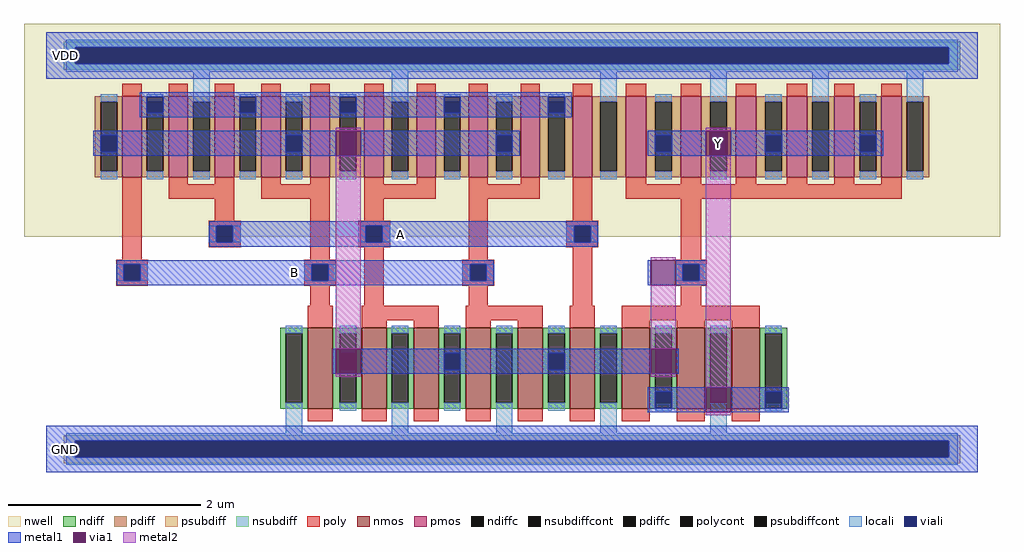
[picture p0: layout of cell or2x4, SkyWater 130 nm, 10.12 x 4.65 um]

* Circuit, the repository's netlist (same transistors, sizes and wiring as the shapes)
** sch_path: /foss/designs/or2x4.sch
.subckt or2x4 A B VDD GND Y
*.PININFO A:I B:I VDD:B GND:B Y:O
XM1 net1 A GND GND sky130_fd_pr__nfet_01v8 L=0.26 W=2.52 nf=3
XM3 net2 A VDD VDD sky130_fd_pr__pfet_01v8 L=0.2 W=4.2 nf=5
XM5 Y net1 VDD VDD sky130_fd_pr__pfet_01v8 L=0.21 W=5.04 nf=6
XM4 net1 B net2 VDD sky130_fd_pr__pfet_01v8 L=0.2 W=4.2 nf=5
XM2 net1 B GND GND sky130_fd_pr__nfet_01v8 L=0.26 W=2.52 nf=3
XM6 Y net1 GND GND sky130_fd_pr__nfet_01v8 L=0.29 W=2.52 nf=3
.ends

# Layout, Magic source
magic
tech sky130A
magscale 1 2
<< nwell >>
rect -46 440 1978 882
<< nmos >>
rect 542 84 594 252
rect 654 84 706 252
rect 762 84 814 252
rect 870 84 922 252
rect 978 84 1030 252
rect 1086 84 1138 252
rect 1194 84 1252 252
rect 1308 84 1366 252
rect 1422 84 1480 252
<< pmos >>
rect 158 564 198 732
rect 254 564 294 732
rect 350 564 390 732
rect 446 564 486 732
rect 548 564 588 732
rect 660 564 700 732
rect 768 564 808 732
rect 876 564 916 732
rect 984 564 1024 732
rect 1092 564 1132 732
rect 1202 564 1244 732
rect 1316 564 1358 732
rect 1430 564 1472 732
rect 1536 564 1578 732
rect 1634 564 1676 732
rect 1732 564 1774 732
<< ndiff >>
rect 485 240 542 252
rect 485 96 497 240
rect 531 96 542 240
rect 485 84 542 96
rect 594 240 654 252
rect 594 96 609 240
rect 643 96 654 240
rect 594 84 654 96
rect 706 240 762 252
rect 706 96 717 240
rect 751 96 762 240
rect 706 84 762 96
rect 814 240 870 252
rect 814 96 825 240
rect 859 96 870 240
rect 814 84 870 96
rect 922 240 978 252
rect 922 96 933 240
rect 967 96 978 240
rect 922 84 978 96
rect 1030 240 1086 252
rect 1030 96 1041 240
rect 1075 96 1086 240
rect 1030 84 1086 96
rect 1138 240 1194 252
rect 1138 96 1149 240
rect 1183 96 1194 240
rect 1138 84 1194 96
rect 1252 240 1308 252
rect 1252 96 1263 240
rect 1297 96 1308 240
rect 1252 84 1308 96
rect 1366 240 1422 252
rect 1366 96 1377 240
rect 1411 96 1422 240
rect 1366 84 1422 96
rect 1480 240 1537 252
rect 1480 96 1491 240
rect 1525 96 1537 240
rect 1480 84 1537 96
<< pdiff >>
rect 101 720 158 732
rect 101 576 113 720
rect 147 576 158 720
rect 101 564 158 576
rect 198 720 254 732
rect 198 576 209 720
rect 243 576 254 720
rect 198 564 254 576
rect 294 720 350 732
rect 294 576 305 720
rect 339 576 350 720
rect 294 564 350 576
rect 390 720 446 732
rect 390 576 401 720
rect 435 576 446 720
rect 390 564 446 576
rect 486 720 548 732
rect 486 576 497 720
rect 531 576 548 720
rect 486 564 548 576
rect 588 720 660 732
rect 588 576 609 720
rect 643 576 660 720
rect 588 564 660 576
rect 700 720 768 732
rect 700 576 717 720
rect 751 576 768 720
rect 700 564 768 576
rect 808 720 876 732
rect 808 576 825 720
rect 859 576 876 720
rect 808 564 876 576
rect 916 720 984 732
rect 916 576 933 720
rect 967 576 984 720
rect 916 564 984 576
rect 1024 720 1092 732
rect 1024 576 1041 720
rect 1075 576 1092 720
rect 1024 564 1092 576
rect 1132 720 1202 732
rect 1132 576 1149 720
rect 1183 576 1202 720
rect 1132 564 1202 576
rect 1244 720 1316 732
rect 1244 576 1263 720
rect 1297 576 1316 720
rect 1244 564 1316 576
rect 1358 720 1430 732
rect 1358 576 1377 720
rect 1411 576 1430 720
rect 1358 564 1430 576
rect 1472 720 1536 732
rect 1472 576 1491 720
rect 1525 576 1536 720
rect 1472 564 1536 576
rect 1578 720 1634 732
rect 1578 576 1589 720
rect 1623 576 1634 720
rect 1578 564 1634 576
rect 1676 720 1732 732
rect 1676 576 1687 720
rect 1721 576 1732 720
rect 1676 564 1732 576
rect 1774 720 1831 732
rect 1774 576 1785 720
rect 1819 576 1831 720
rect 1774 564 1831 576
<< ndiffc >>
rect 497 96 531 240
rect 609 96 643 240
rect 717 96 751 240
rect 825 96 859 240
rect 933 96 967 240
rect 1041 96 1075 240
rect 1149 96 1183 240
rect 1263 96 1297 240
rect 1377 96 1411 240
rect 1491 96 1525 240
<< pdiffc >>
rect 113 576 147 720
rect 209 576 243 720
rect 305 576 339 720
rect 401 576 435 720
rect 497 576 531 720
rect 609 576 643 720
rect 717 576 751 720
rect 825 576 859 720
rect 933 576 967 720
rect 1041 576 1075 720
rect 1149 576 1183 720
rect 1263 576 1297 720
rect 1377 576 1411 720
rect 1491 576 1525 720
rect 1589 576 1623 720
rect 1687 576 1721 720
rect 1785 576 1819 720
<< psubdiff >>
rect 36 17 1896 29
rect 36 -17 60 17
rect 1872 -17 1896 17
rect 36 -29 1896 -17
<< nsubdiff >>
rect 36 833 1896 845
rect 36 799 60 833
rect 1872 799 1896 833
rect 36 787 1896 799
<< psubdiffcont >>
rect 60 -17 1872 17
<< nsubdiffcont >>
rect 60 799 1872 833
<< poly >>
rect 158 732 198 758
rect 254 732 294 758
rect 350 732 390 758
rect 446 732 486 758
rect 548 732 588 758
rect 660 732 700 758
rect 768 732 808 758
rect 876 732 916 758
rect 984 732 1024 758
rect 1092 732 1132 758
rect 1202 732 1244 758
rect 1316 732 1358 758
rect 1430 732 1472 758
rect 1536 732 1578 758
rect 1634 732 1676 758
rect 1732 732 1774 758
rect 158 393 198 564
rect 254 549 294 564
rect 350 549 390 564
rect 254 519 390 549
rect 446 549 486 564
rect 548 549 588 564
rect 446 519 588 549
rect 350 473 390 519
rect 337 463 403 473
rect 337 429 353 463
rect 387 429 403 463
rect 337 419 403 429
rect 548 393 588 519
rect 660 549 700 564
rect 768 549 808 564
rect 660 519 808 549
rect 876 549 916 564
rect 984 549 1024 564
rect 876 519 1024 549
rect 660 473 700 519
rect 647 463 713 473
rect 647 429 663 463
rect 697 429 713 463
rect 647 419 713 429
rect 145 383 211 393
rect 145 349 161 383
rect 195 349 211 383
rect 145 339 211 349
rect 535 383 601 393
rect 535 349 551 383
rect 585 349 601 383
rect 535 339 601 349
rect 548 297 588 339
rect 660 297 700 419
rect 876 393 916 519
rect 1092 473 1132 564
rect 1202 549 1244 564
rect 1316 549 1358 564
rect 1430 549 1472 564
rect 1536 549 1578 564
rect 1634 549 1676 564
rect 1732 549 1774 564
rect 1202 519 1774 549
rect 1079 463 1145 473
rect 1079 429 1095 463
rect 1129 429 1145 463
rect 1079 419 1145 429
rect 863 383 929 393
rect 863 349 879 383
rect 913 349 929 383
rect 863 339 929 349
rect 876 297 916 339
rect 1092 297 1132 419
rect 1316 393 1358 519
rect 1304 383 1370 393
rect 1304 349 1320 383
rect 1354 349 1370 383
rect 1304 339 1370 349
rect 1316 297 1358 339
rect 542 252 594 297
rect 654 267 814 297
rect 654 252 706 267
rect 762 252 814 267
rect 870 267 1030 297
rect 870 252 922 267
rect 978 252 1030 267
rect 1086 252 1138 297
rect 1194 267 1480 297
rect 1194 252 1252 267
rect 1308 252 1366 267
rect 1422 252 1480 267
rect 542 58 594 84
rect 654 58 706 84
rect 762 58 814 84
rect 870 58 922 84
rect 978 58 1030 84
rect 1086 58 1138 84
rect 1194 58 1252 84
rect 1308 58 1366 84
rect 1422 58 1480 84
<< polycont >>
rect 353 429 387 463
rect 663 429 697 463
rect 161 349 195 383
rect 551 349 585 383
rect 1095 429 1129 463
rect 879 349 913 383
rect 1320 349 1354 383
<< locali >>
rect 42 833 1890 849
rect 42 799 60 833
rect 1872 799 1890 833
rect 42 783 1890 799
rect 113 720 147 736
rect 113 560 147 576
rect 209 731 243 736
rect 209 560 243 576
rect 305 720 339 783
rect 305 560 339 576
rect 401 731 435 736
rect 401 560 435 576
rect 497 720 531 736
rect 497 560 531 576
rect 609 731 643 736
rect 609 560 643 576
rect 717 720 751 783
rect 717 560 751 576
rect 825 731 859 736
rect 825 560 859 576
rect 933 720 967 736
rect 933 560 967 576
rect 1041 731 1075 736
rect 1041 560 1075 576
rect 1149 720 1183 783
rect 1149 560 1183 576
rect 1263 720 1297 736
rect 1263 560 1297 576
rect 1377 720 1411 783
rect 1377 560 1411 576
rect 1491 720 1525 736
rect 1491 560 1525 576
rect 1589 720 1623 783
rect 1589 560 1623 576
rect 1687 720 1721 736
rect 1687 560 1721 576
rect 1785 720 1819 783
rect 1785 560 1819 576
rect 337 429 353 463
rect 387 429 403 463
rect 647 429 663 463
rect 697 429 713 463
rect 1079 429 1095 463
rect 1129 429 1145 463
rect 145 349 161 383
rect 195 349 211 383
rect 535 349 551 383
rect 585 349 601 383
rect 863 349 879 383
rect 913 349 929 383
rect 1304 349 1320 383
rect 1354 349 1370 383
rect 497 240 531 256
rect 497 33 531 96
rect 609 240 643 256
rect 609 80 643 96
rect 717 240 751 256
rect 717 33 751 96
rect 825 240 859 256
rect 825 80 859 96
rect 933 240 967 256
rect 933 33 967 96
rect 1041 240 1075 256
rect 1041 80 1075 96
rect 1149 240 1183 256
rect 1149 33 1183 96
rect 1263 240 1297 256
rect 1263 80 1297 85
rect 1377 240 1411 256
rect 1377 33 1411 96
rect 1491 240 1525 256
rect 1491 80 1525 85
rect 42 17 1890 33
rect 42 -17 60 17
rect 1872 -17 1890 17
rect 42 -33 1890 -17
<< viali >>
rect 60 799 1872 833
rect 113 617 147 651
rect 209 720 243 731
rect 209 697 243 720
rect 401 720 435 731
rect 401 697 435 720
rect 497 617 531 651
rect 609 720 643 731
rect 609 697 643 720
rect 825 720 859 731
rect 825 697 859 720
rect 933 617 967 651
rect 1041 720 1075 731
rect 1041 697 1075 720
rect 1263 617 1297 651
rect 1491 617 1525 651
rect 1687 617 1721 651
rect 353 429 387 463
rect 663 429 697 463
rect 1095 429 1129 463
rect 161 349 195 383
rect 551 349 585 383
rect 879 349 913 383
rect 1320 349 1354 383
rect 609 165 643 199
rect 825 165 859 199
rect 1041 165 1075 199
rect 1263 96 1297 119
rect 1263 85 1297 96
rect 1491 96 1525 119
rect 1491 85 1525 96
rect 60 -17 1872 17
<< metal1 >>
rect 0 833 1932 864
rect 0 799 60 833
rect 1872 799 1932 833
rect 0 768 1932 799
rect 194 731 1090 740
rect 194 697 209 731
rect 243 697 401 731
rect 435 697 609 731
rect 643 697 825 731
rect 859 697 1041 731
rect 1075 697 1090 731
rect 194 688 1090 697
rect 98 651 600 660
rect 98 617 113 651
rect 147 617 497 651
rect 531 617 600 651
rect 98 608 600 617
rect 652 651 982 660
rect 652 617 933 651
rect 967 617 982 651
rect 652 608 982 617
rect 1248 651 1368 660
rect 1248 617 1263 651
rect 1297 617 1368 651
rect 1248 608 1368 617
rect 1420 651 1736 660
rect 1420 617 1491 651
rect 1525 617 1687 651
rect 1721 617 1736 651
rect 1420 608 1736 617
rect 338 463 1144 472
rect 338 429 353 463
rect 387 429 663 463
rect 697 429 1095 463
rect 1129 429 1144 463
rect 338 420 1144 429
rect 146 383 928 392
rect 146 349 161 383
rect 195 349 551 383
rect 585 349 879 383
rect 913 349 928 383
rect 146 340 928 349
rect 1248 340 1254 392
rect 1306 383 1369 392
rect 1306 349 1320 383
rect 1354 349 1369 383
rect 1306 340 1369 349
rect 594 156 600 208
rect 652 199 1254 208
rect 652 165 825 199
rect 859 165 1041 199
rect 1075 165 1254 199
rect 652 156 1254 165
rect 1306 156 1312 208
rect 1248 119 1368 128
rect 1248 85 1263 119
rect 1297 85 1368 119
rect 1248 76 1368 85
rect 1420 119 1540 128
rect 1420 85 1491 119
rect 1525 85 1540 119
rect 1420 76 1540 85
rect 0 17 1932 48
rect 0 -17 60 17
rect 1872 -17 1932 17
rect 0 -48 1932 -17
<< via1 >>
rect 600 608 652 660
rect 1368 608 1420 660
rect 1254 340 1306 392
rect 600 199 652 208
rect 600 165 609 199
rect 609 165 643 199
rect 643 165 652 199
rect 600 156 652 165
rect 1254 156 1306 208
rect 1368 76 1420 128
<< metal2 >>
rect 600 660 652 666
rect 600 208 652 608
rect 1368 660 1420 666
rect 600 150 652 156
rect 1254 392 1306 398
rect 1254 208 1306 340
rect 1254 150 1306 156
rect 1368 128 1420 608
rect 1368 70 1420 76
<< labels >>
rlabel metal1 711 423 757 469 0 A
port 1 nsew
rlabel metal1 491 343 537 389 0 B
port 2 nsew
rlabel metal1 10 780 70 852 0 VDD
port 3 nsew
rlabel metal1 10 -36 70 36 0 GND
port 4 nsew
rlabel via1 1371 611 1417 657 0 Y
port 5 nsew
<< properties >>
string FIXED_BBOX 0 0 1932 816
<< end >>
